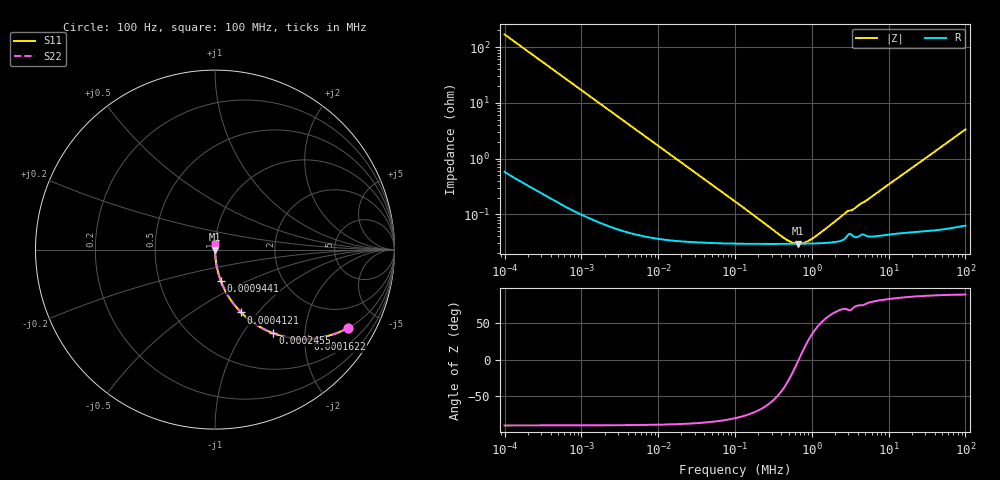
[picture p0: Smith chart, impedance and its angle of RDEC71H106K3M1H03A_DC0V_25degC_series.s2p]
!Murata Part Number: RDEC71H106K3M1H03A
!These Parameters are Measured in Series Mode Connection
!  o--ll--o
!Port1  Port2
!  o------o
!Operation Temp=25[degC], DC Bias Voltage=0[V]
!Freq. Start=100[Hz] Stop=100[MHz], 401[Steps]
!Data Generated on Dec 23, 2019
# Hz S RI R 50
!Freq.(Hz) S11(Real) S11(Imag) S21(Real) S21(Imag) S12(Real) S12(Imag) S22(Real) S22(Imag)
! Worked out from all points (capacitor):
!   401 points, 100 Hz to 100 MHz, reference 50 ohm
!   read as one part in series: C = 9.43 uF near 107.2 Hz
!   lowest |Z| = 29.6 mohm at 668.3 kHz (marker M1)
!   series resonance near 676 kHz, so ESL is about 5.9 nH
!   S11 on the Smith chart (normalised r, x): 100 Hz: 1.01, -3.37; 162.2 Hz: 1.01, -2.08; 245.5 Hz: 1.01, -1.38; 412.1 Hz: 1.00, -0.82; 944.1 Hz: 1.00, -0.36; 100 MHz: 1.00, +0.07
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100  0.7391 -0.4374  0.2609 0.4374  0.2609 0.4374  0.7391 -0.4374
118.8502  0.6677 -0.4693  0.3323 0.4693  0.3323 0.4693  0.6677 -0.4693
162.181  0.5198 -0.4978  0.4802 0.4978  0.4802 0.4978  0.5198 -0.4978
245.4709  0.3221 -0.4652  0.6779 0.4652  0.6779 0.4652  0.3221 -0.4652
323.5937  0.2154 -0.4089  0.7846 0.4089  0.7846 0.4089  0.2154 -0.4089
412.0975  0.1453 -0.3502  0.8547 0.3502  0.8547 0.3502  0.1453 -0.3502
602.5596  0.0743 -0.2597  0.9257 0.2597  0.9257 0.2597  0.0743 -0.2597
944.0609  0.0322 -0.1736  0.9678 0.1736  0.9678 0.1736  0.0322 -0.1736
1011.579  0.0282 -0.1627  0.9718 0.1627  0.9718 0.1627  0.0282 -0.1627
1584.893  0.0121 -0.1057  0.9879 0.1057  0.9879 0.1057  0.0121 -0.1057
2660.725  0.00462 -0.0636  0.9954 0.0636  0.9954 0.0636  0.00462 -0.0636
10232.93  0.000638 -0.0167  0.9994 0.0167  0.9994 0.0167  0.000638 -0.0167
100000  0.0003 -0.00168  0.9997 0.00168  0.9997 0.00168  0.0003 -0.00168
426579.5  0.000294 -0.000242  0.9997 0.000242  0.9997 0.000242  0.000294 -0.000242
543250.3  0.000295 -0.000112  0.9997 0.000112  0.9997 0.000112  0.000295 -0.000112
668343.9  0.000296 -5.71e-06  0.9997 5.71e-06  0.9997 5.71e-06  0.000296 -5.71e-06
822242.6  0.000297 0.0001  0.9997 -0.0001  0.9997 -0.0001  0.000297 0.0001
1011579  0.000299 0.000211  0.9997 -0.000211  0.9997 -0.000211  0.000299 0.000211
2754229  0.000378 0.000999  0.9996 -0.000999  0.9996 -0.000999  0.000378 0.000999
3507519  0.0004 0.00117  0.9996 -0.00117  0.9996 -0.00117  0.0004 0.00117
1.023293e7  0.000446 0.00347  0.9996 -0.00347  0.9996 -0.00347  0.000446 0.00347
1e8  0.00173 0.0333  0.9983 -0.0333  0.9983 -0.0333  0.00173 0.0333
